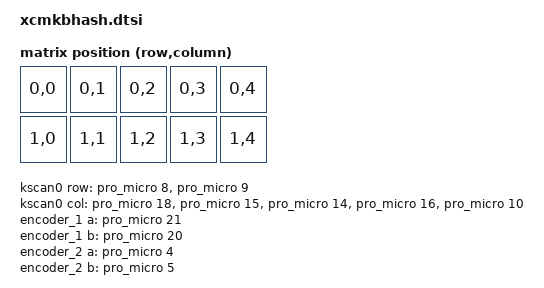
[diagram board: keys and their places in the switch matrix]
/*
 * Copyright (c) 2020 The ZMK Contributors
 *
 * SPDX-License-Identifier: MIT
 */

#include <dt-bindings/zmk/matrix_transform.h>

/ {
    chosen {
        zmk,kscan = &kscan0;
        zmk,matrix_transform = &default_transform;
    };

    default_transform: keymap_transform_0 {
        compatible = "zmk,matrix-transform";
        columns = <4>;
        rows = <2>;

        map = <
			RC(0,0) RC(0,1) RC(0,2) RC(0,3) RC(0,4) 
			RC(1,0) RC(1,1) RC(1,2) RC(1,3) RC(1,4) 

        >;
    };

    kscan0: kscan_0 {
        compatible = "zmk,kscan-gpio-matrix";
        label = "KSCAN";
        diode-direction = "col2row";

        col-gpios
            = <&pro_micro 18 GPIO_ACTIVE_HIGH>
            , <&pro_micro 15 GPIO_ACTIVE_HIGH>
            , <&pro_micro 14 GPIO_ACTIVE_HIGH>
            , <&pro_micro 16 GPIO_ACTIVE_HIGH>
            , <&pro_micro 10 GPIO_ACTIVE_HIGH>
            ;

        row-gpios
            = <&pro_micro 8 (GPIO_ACTIVE_HIGH | GPIO_PULL_DOWN)>
            , <&pro_micro 9 (GPIO_ACTIVE_HIGH | GPIO_PULL_DOWN)>
            ;
    };
	
		
		encoder_1: encoder_1 {
		compatible = "alps,ec11";
		label = "Encoder 1";
		a-gpios = <&pro_micro 21 (GPIO_ACTIVE_LOW | GPIO_PULL_UP)>;
		b-gpios = <&pro_micro 20 (GPIO_ACTIVE_LOW | GPIO_PULL_UP)>;
		resolution = <2>;
		status = "disabled";
	};
		encoder_2: encoder_2 {
		compatible = "alps,ec11";
		label = "Encoder 2";
		a-gpios = <&pro_micro 4 (GPIO_ACTIVE_LOW | GPIO_PULL_UP)>;
		b-gpios = <&pro_micro 5 (GPIO_ACTIVE_LOW | GPIO_PULL_UP)>;
		resolution = <2>;
		status = "disabled";
	};

};
